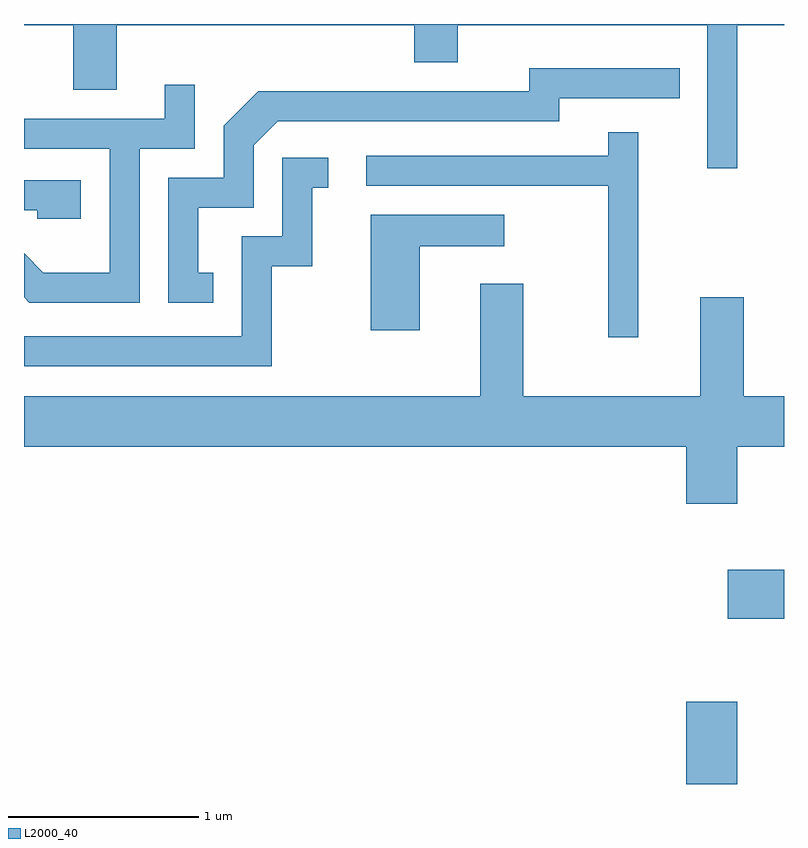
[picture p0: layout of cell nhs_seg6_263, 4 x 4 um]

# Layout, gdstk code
import gdstk
lib = gdstk.Library(unit=1e-6, precision=1e-09)
def R(c, l, rs):  # rectangles x0, y0, x1, y1
    for r in rs: c.add(gdstk.rectangle(r[:2], r[2:], *l))
def P(c, l, *ps):  # polygons
    for p in ps: c.add(gdstk.Polygon(p, *l))
L2000_40 = (2000, 40)

nhs_seg6_263 = lib.new_cell('nhs_seg6_263')
R(nhs_seg6_263, L2000_40, [(195.096,1648.162,195.364,1648.594), (195.316,1649.031,195.611,1649.289)])
P(nhs_seg6_263, L2000_40, [(195.364,1652.156),(195.611,1652.156),(195.611,1652.162),(191.611,1652.162),(191.611,1652.156),(191.871,1652.156),(191.871,1651.816),(192.099,1651.816),(192.099,1652.156),(193.666,1652.156),(193.666,1651.961),(193.894,1651.961),(193.894,1652.156),(195.206,1652.156),(195.206,1651.403),(195.364,1651.403)],
  [(192.608,1650.854),(192.529,1650.854),(192.529,1651.196),(192.819,1651.196),(192.819,1651.524),(192.947,1651.651),(194.429,1651.651),(194.429,1651.771),(195.063,1651.771),(195.063,1651.929),(194.271,1651.929),(194.271,1651.809),(192.844,1651.809),(192.661,1651.627),(192.661,1651.354),(192.371,1651.354),(192.371,1650.696),(192.608,1650.696)],
  [(192.219,1651.506),(192.509,1651.506),(192.509,1651.843),(192.351,1651.843),(192.351,1651.664),(191.611,1651.664),(191.611,1651.506),(192.061,1651.506),(192.061,1650.854),(191.712,1650.854),(191.611,1650.955),(191.611,1650.724),(191.639,1650.696),(192.219,1650.696)],
  [(194.844,1651.593),(194.686,1651.593),(194.686,1651.469),(193.413,1651.469),(193.413,1651.311),(194.686,1651.311),(194.686,1650.513),(194.844,1650.513)],
  [(192.914,1650.886),(193.129,1650.886),(193.129,1651.301),(193.213,1651.301),(193.213,1651.459),(192.971,1651.459),(192.971,1651.044),(192.756,1651.044),(192.756,1650.519),(191.611,1650.519),(191.611,1650.361),(192.914,1650.361)],
  [(191.909,1651.339),(191.611,1651.339),(191.611,1651.181),(191.681,1651.181),(191.681,1651.136),(191.909,1651.136)],
  [(193.694,1650.991),(194.138,1650.991),(194.138,1651.159),(193.436,1651.159),(193.436,1650.551),(193.694,1650.551)],
  [(195.364,1649.936),(195.611,1649.936),(195.611,1650.204),(195.399,1650.204),(195.399,1650.724),(195.171,1650.724),(195.171,1650.204),(194.239,1650.204),(194.239,1650.794),(194.011,1650.794),(194.011,1650.204),(191.611,1650.204),(191.611,1649.936),(195.096,1649.936),(195.096,1649.636),(195.364,1649.636)])

lib.write_gds('nhs_seg6_263.gds')
